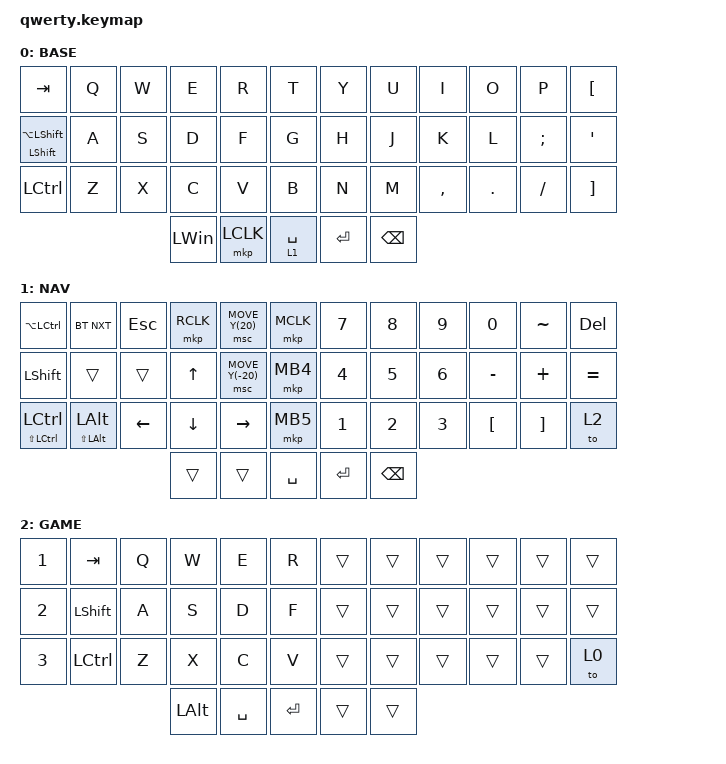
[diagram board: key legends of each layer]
/* upstream bindings and behaviors */
#include <behaviors.dtsi>
#include <dt-bindings/zmk/bt.h>
#include <dt-bindings/zmk/keys.h>
#include <dt-bindings/zmk/mouse.h>
#include <dt-bindings/zmk/outputs.h>
#include <behaviors/mouse_keys.dtsi>
#include <dt-bindings/zmk/ext_power.h>

/* local overlays */
#include "keys_ru.h"
#include "keys_pl.h"
#include "macros.dtsi"
#include "behaviors.dtsi"
#include "combos.dtsi"


/ {
/* --- KEYMAP CONFIG --- */
// ╭──────┬──────┬──────┬──────┬──────┬──────╮  ╭──────┬──────┬──────┬──────┬──────┬──────╮
//    00     01     02     03    04      05        06     07     08     09     10     11
// ├──────┼──────┼──────┼──────┼──────┼──────┤  ├──────┼──────┼──────┼──────┼──────┼──────┤
//    12     13     14     15    16      17        18     19     20     21     22     23
// ├──────┼──────┼──────┼──────┼──────┼──────┤  ├──────┼──────┼──────┼──────┼──────┼──────┤
//    24     25     26     27    28      29        30     31     32     33     34     35
// ╰──────┴──────┴──────┼──────┼──────┼──────┤  ├──────┼──────┼──────┴──────┴──────┴──────╯
//                         36     37     38        39     40
//                      ╰──────┴──────┴──────╯  ╰──────┴──────╯
// #define BASE    0
// #define RUS     1
// #define NUM     2
// #define NAV     3
// #define SYM     4
// #define EXTRAS  5
// #define SLOW    6
// #define SCROLL  7
// #define FUNC    8

    keymap {
        compatible = "zmk,keymap";

        BASE {
            bindings = <
&kp TAB                        &kp Q  &kp W  &kp E         &kp R      &kp T          &kp Y      &kp U          &kp I      &kp O    &kp P          &kp LEFT_BRACKET
&mt LEFT_SHIFT LA(LEFT_SHIFT)  &kp A  &kp S  &kp D         &kp F      &kp G          &kp H      &kp J          &kp K      &kp L    &kp SEMICOLON  &kp APOSTROPHE
&kp LEFT_CONTROL               &kp Z  &kp X  &kp C         &kp V      &kp B          &kp N      &kp M          &kp COMMA  &kp DOT  &kp FSLH       &kp RIGHT_BRACKET
                                             &kp LEFT_WIN  &mkp LCLK  &lt 1 SPACE    &kp ENTER  &kp BACKSPACE
            >;
        };

        NAV {
            bindings = <
&kp LA(LEFT_CONTROL)               &bt BT_NXT                 &kp ESCAPE  &mkp RCLK       &msc MOVE_Y(20)   &mkp MCLK    &kp N7   &kp N8         &kp N9        &kp N0            &kp TILDE          &kp DELETE
&kp LEFT_SHIFT                     &trans                     &trans      &kp UP          &msc MOVE_Y(-20)  &mkp MB4     &kp N4   &kp N5         &kp NUMBER_6  &kp MINUS         &kp PLUS           &kp EQUAL
&mt LS(LEFT_CONTROL) LEFT_CONTROL  &mt LS(LEFT_ALT) LEFT_ALT  &kp LEFT    &kp DOWN_ARROW  &kp RIGHT_ARROW   &mkp MB5     &kp N1   &kp N2         &kp N3        &kp LEFT_BRACKET  &kp RIGHT_BRACKET  &to 2
                                                                          &trans          &trans            &kp SPACE    &kp RET  &kp BACKSPACE
            >;
        };

        GAME {
            bindings = <
&kp NUMBER_1  &kp TAB           &kp Q  &kp W         &kp E      &kp R      &trans  &trans  &trans  &trans  &trans  &trans
&kp NUMBER_2  &kp LEFT_SHIFT    &kp A  &kp S         &kp D      &kp F      &trans  &trans  &trans  &trans  &trans  &trans
&kp NUMBER_3  &kp LEFT_CONTROL  &kp Z  &kp X         &kp C      &kp V      &trans  &trans  &trans  &trans  &trans  &to 0
                                       &kp LEFT_ALT  &kp SPACE  &kp RET    &trans  &trans
            >;
        };
    };
};
